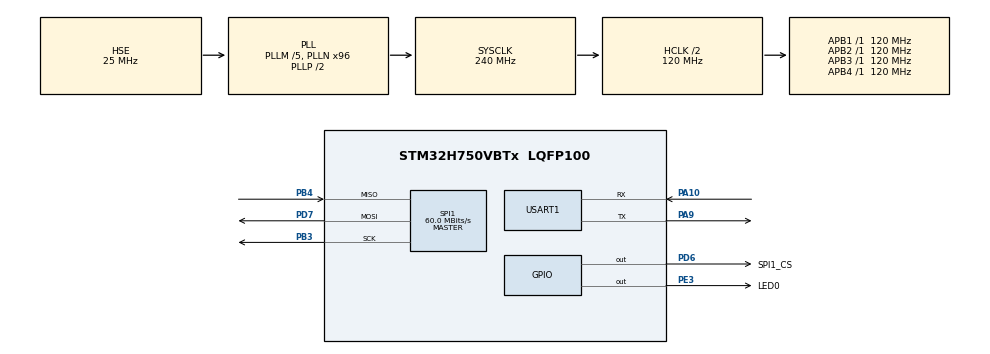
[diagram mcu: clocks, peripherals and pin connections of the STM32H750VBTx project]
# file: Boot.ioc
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Mcu.Family=STM32H7
Mcu.Name=STM32H750VBTx
Mcu.Package=LQFP100
NVIC.PriorityGroup=NVIC_PRIORITYGROUP_4
PA10.Mode=Asynchronous
PA10.Signal=USART1_RX
PA13\ (JTMS/SWDIO).Mode=Serial_Wire
PA13\ (JTMS/SWDIO).Signal=DEBUG_JTMS-SWDIO
PA14\ (JTCK/SWCLK).Mode=Serial_Wire
PA14\ (JTCK/SWCLK).Signal=DEBUG_JTCK-SWCLK
PA9.Mode=Asynchronous
PA9.Signal=USART1_TX
PB3\ (JTDO/TRACESWO).GPIO_Speed=GPIO_SPEED_FREQ_HIGH
PB3\ (JTDO/TRACESWO).Mode=Full_Duplex_Master
PB3\ (JTDO/TRACESWO).Signal=SPI1_SCK
PB4\ (NJTRST).GPIO_Speed=GPIO_SPEED_FREQ_HIGH
PB4\ (NJTRST).Mode=Full_Duplex_Master
PB4\ (NJTRST).Signal=SPI1_MISO
PD6.GPIO_Label=SPI1_CS
PD6.GPIO_PuPd=GPIO_PULLUP
PD6.GPIO_Speed=GPIO_SPEED_FREQ_HIGH
PD6.PinState=GPIO_PIN_SET
PD6.Signal=GPIO_Output
PD7.GPIO_Speed=GPIO_SPEED_FREQ_HIGH
PD7.Mode=Full_Duplex_Master
PD7.Signal=SPI1_MOSI
PE3.GPIO_Label=LED0
PE3.GPIO_PuPd=GPIO_PULLDOWN
PE3.Signal=GPIO_Output
PH0-OSC_IN\ (PH0).Mode=HSE-External-Oscillator
PH0-OSC_IN\ (PH0).Signal=RCC_OSC_IN
PH1-OSC_OUT\ (PH1).Mode=HSE-External-Oscillator
PH1-OSC_OUT\ (PH1).Signal=RCC_OSC_OUT
ProjectManager.HeapSize=0x200
ProjectManager.StackSize=0x400
ProjectManager.TargetToolchain=MDK-ARM V5.32
RCC.ADCFreq_Value=120000000
RCC.APB1Freq_Value=120000000
RCC.APB2Freq_Value=120000000
RCC.APB3Freq_Value=120000000
RCC.APB4Freq_Value=120000000
RCC.CortexFreq_Value=240000000
RCC.DIVM1=5
RCC.DIVM2=20
RCC.DIVM3=10
RCC.DIVN1=96
RCC.DIVN2=192
RCC.DIVN3=96
RCC.DIVP3=5
RCC.DIVQ1=4
RCC.DIVQ2=5
RCC.DIVQ3=5
RCC.HCLKFreq_Value=120000000
RCC.HPRE=RCC_HCLK_DIV2
RCC.PLL2FRACN=0
RCC.PLL3FRACN=0
RCC.PLLFRACN=0
RCC.PLLSourceVirtual=RCC_PLLSOURCE_HSE
RCC.SYSCLKFreq_VALUE=240000000
RCC.SYSCLKSource=RCC_SYSCLKSOURCE_PLLCLK
RCC.USART16CLockSelection=RCC_USART16CLKSOURCE_PLL3
RCC.USBFreq_Value=120000000
SPI1.BaudRatePrescaler=SPI_BAUDRATEPRESCALER_2
SPI1.CalculateBaudRate=60.0 MBits/s
SPI1.DataSize=SPI_DATASIZE_8BIT
SPI1.Direction=SPI_DIRECTION_2LINES
SPI1.Mode=SPI_MODE_MASTER
SPI1.VirtualType=VM_MASTER
USART1.VirtualMode-Asynchronous=VM_ASYNC
VP_FATFS_VS_Generic.Mode=User_defined
board=custom

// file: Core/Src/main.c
/* USER CODE BEGIN Header */
/**
  ******************************************************************************
  * @file           : main.c
  * @brief          : Main program body
  ******************************************************************************
  * @attention
  *
  * Copyright (c) 2024 STMicroelectronics.
  * All rights reserved.
  *
  * This software is licensed under terms that can be found in the LICENSE file
  * in the root directory of this software component.
  * If no LICENSE file comes with this software, it is provided AS-IS.
  *
  ******************************************************************************
  */
/* USER CODE END Header */
#include "main.h"
#include "fatfs.h"
#include "spi.h"
#include "usart.h"
#include "gpio.h"

/* USER CODE BEGIN Includes */
#include <stdint.h>
#include "boot.h"
#include "version.h"
#include <string.h>
#include <stdio.h>
#include "bsp_flash.h"
#include "w25qxx_driver.h"
/* USER CODE END Includes */

/* USER CODE BEGIN PM */
#define APP_AREA1_ADDRESS 0x08008000
#define APP_AREA2_ADDRESS 0x08020000
/* USER CODE END PM */

/* USER CODE BEGIN PV */
W25Qxx flash1;
/* USER CODE END PV */

void SystemClock_Config(void);

/* USER CODE BEGIN 0 */
#define VERSION_ADDRESS 0x08040000

uint32_t app_addr = 0x08008000;
uint32_t count = 0;
Firmware_Version_Typedef version = {0};
static char buffer[128] = {0};

void Goto_APP1()
{
	HAL_SPI_DeInit(&hspi1);
	HAL_UART_DeInit(&huart1);
	HAL_GPIO_DeInit(LED0_GPIO_Port, LED0_Pin);
	boot_to(APP_AREA1_ADDRESS);
}

void Goto_APP2()
{
	HAL_SPI_DeInit(&hspi1);
	HAL_UART_DeInit(&huart1);
	HAL_GPIO_DeInit(LED0_GPIO_Port, LED0_Pin);
	boot_to(APP_AREA2_ADDRESS);
}

extern void FileTest(void);

/* USER CODE END 0 */

int main(void)
{

  /* MCU Configuration--------------------------------------------------------*/

  /* Reset of all peripherals, Initializes the Flash interface and the Systick. */
  HAL_Init();

  /* Configure the system clock */
  SystemClock_Config();

  /* Initialize all configured peripherals */
  MX_GPIO_Init();
  MX_SPI1_Init();
  MX_USART1_UART_Init();
  MX_FATFS_Init();
  /* USER CODE BEGIN 2 */
	memcpy(&version, (const void*)(VERSION_ADDRESS), sizeof(version));

	sprintf(buffer, "device name:%s\r\n", version.device_name);
	HAL_UART_Transmit(&huart1, buffer, strlen(buffer), 10);
	memset(buffer, 0, sizeof(buffer));

	sprintf(buffer, "version: %d.%d.%d\r\n", Get_Version_Major(version.Version), Get_Version_Minor(version.Version), Get_Version_Patch(version.Version));
	HAL_UART_Transmit(&huart1, buffer, strlen(buffer), 10);
	memset(buffer, 0, sizeof(buffer));

	sprintf(buffer, "timestamp: %d size: %d, crc16: %x\r\n", version.update_timestamp, version.size, version.crc16);
	HAL_UART_Transmit(&huart1, buffer, strlen(buffer), 10);
	memset(buffer, 0, sizeof(buffer));

	sprintf(buffer, "manufacturer: %s\r\n", version.manufacturer);
	HAL_UART_Transmit(&huart1, buffer, strlen(buffer), 10);
	memset(buffer, 0, sizeof(buffer));

	sprintf(buffer, "description: %s\r\n", version.description);
	HAL_UART_Transmit(&huart1, buffer, strlen(buffer), 10);
	memset(buffer, 0, sizeof(buffer));

	/*if (program_flag_is_enable()) {
		sprintf(buffer, "Enabled reprogram flag, goto app1");
		HAL_UART_Transmit(&huart1, buffer, strlen(buffer), 10);
		memset(buffer, 0, sizeof(buffer));
		set_program_flag(0);
		HAL_Delay(3000);
		Goto_APP1();
	} else {
		sprintf(buffer, "Disabled reprogram flag, goto app2");
		HAL_UART_Transmit(&huart1, buffer, strlen(buffer), 10);
		memset(buffer, 0, sizeof(buffer));
		HAL_Delay(3000);
		Goto_APP2();
	}*/

	HAL_Delay(5000);
	FileTest();

  /* USER CODE END 2 */

  /* Infinite loop */
  /* USER CODE BEGIN WHILE */
  while (1)
  {
	  /*if (count < 10000) {
		HAL_GPIO_TogglePin(LED0_GPIO_Port, LED0_Pin);
	  }
	  count++;
	  HAL_UART_Transmit(&huart1, "Into Boot\r\n", 11, 10);
	  if (count == 20) {
		Goto_APP2();
	  }*/
	  HAL_GPIO_TogglePin(LED0_GPIO_Port, LED0_Pin);
	  HAL_Delay(1000);
    /* USER CODE END WHILE */

  }
}

void SystemClock_Config(void)
{
  RCC_OscInitTypeDef RCC_OscInitStruct = {0};
  RCC_ClkInitTypeDef RCC_ClkInitStruct = {0};

  /** Supply configuration update enable
  */
  HAL_PWREx_ConfigSupply(PWR_LDO_SUPPLY);

  /** Configure the main internal regulator output voltage
  */
  __HAL_PWR_VOLTAGESCALING_CONFIG(PWR_REGULATOR_VOLTAGE_SCALE2);

  while(!__HAL_PWR_GET_FLAG(PWR_FLAG_VOSRDY)) {}

  /** Initializes the RCC Oscillators according to the specified parameters
  * in the RCC_OscInitTypeDef structure.
  */
  RCC_OscInitStruct.OscillatorType = RCC_OSCILLATORTYPE_HSE;
  RCC_OscInitStruct.HSEState = RCC_HSE_ON;
  RCC_OscInitStruct.PLL.PLLState = RCC_PLL_ON;
  RCC_OscInitStruct.PLL.PLLSource = RCC_PLLSOURCE_HSE;
  RCC_OscInitStruct.PLL.PLLM = 5;
  RCC_OscInitStruct.PLL.PLLN = 96;
  RCC_OscInitStruct.PLL.PLLP = 2;
  RCC_OscInitStruct.PLL.PLLQ = 4;
  RCC_OscInitStruct.PLL.PLLR = 2;
  RCC_OscInitStruct.PLL.PLLRGE = RCC_PLL1VCIRANGE_2;
  RCC_OscInitStruct.PLL.PLLVCOSEL = RCC_PLL1VCOWIDE;
  RCC_OscInitStruct.PLL.PLLFRACN = 0;
  if (HAL_RCC_OscConfig(&RCC_OscInitStruct) != HAL_OK)
  {
    Error_Handler();
  }

  /** Initializes the CPU, AHB and APB buses clocks
  */
  RCC_ClkInitStruct.ClockType = RCC_CLOCKTYPE_HCLK|RCC_CLOCKTYPE_SYSCLK
                              |RCC_CLOCKTYPE_PCLK1|RCC_CLOCKTYPE_PCLK2
                              |RCC_CLOCKTYPE_D3PCLK1|RCC_CLOCKTYPE_D1PCLK1;
  RCC_ClkInitStruct.SYSCLKSource = RCC_SYSCLKSOURCE_PLLCLK;
  RCC_ClkInitStruct.SYSCLKDivider = RCC_SYSCLK_DIV1;
  RCC_ClkInitStruct.AHBCLKDivider = RCC_HCLK_DIV2;
  RCC_ClkInitStruct.APB3CLKDivider = RCC_APB3_DIV1;
  RCC_ClkInitStruct.APB1CLKDivider = RCC_APB1_DIV1;
  RCC_ClkInitStruct.APB2CLKDivider = RCC_APB2_DIV1;
  RCC_ClkInitStruct.APB4CLKDivider = RCC_APB4_DIV1;

  if (HAL_RCC_ClockConfig(&RCC_ClkInitStruct, FLASH_LATENCY_2) != HAL_OK)
  {
    Error_Handler();
  }
}

void Error_Handler(void)
{
  __disable_irq();
  while (1)
  {
  }
}
